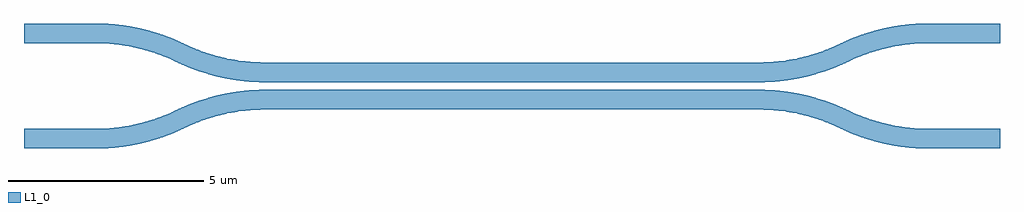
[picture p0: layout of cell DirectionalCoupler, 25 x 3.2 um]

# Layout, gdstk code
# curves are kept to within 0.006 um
import gdstk
lib = gdstk.Library(unit=1e-6, precision=1e-09)
def R(c, l, rs):  # rectangles x0, y0, x1, y1
    for r in rs: c.add(gdstk.rectangle(r[:2], r[2:], *l))
def P(c, l, *ps):  # polygons
    for p in ps: c.add(gdstk.Polygon(p, *l))
L1_0 = (1, 0)

directionalcoupler = lib.new_cell('DirectionalCoupler')
R(directionalcoupler, L1_0, [(-12.5,-1.6,-11.5,-1.1), (11.5,-1.6,12.5,-1.1), (-5.5,-0.6,5.5,-0.1), (-5.5,0.1,5.5,0.6), (-12.5,1.1,-11.5,1.6), (11.5,1.1,12.5,1.6)])
P(directionalcoupler, L1_0, [(10.612,-1.6),(10.276,-1.585),(9.926,-1.546),(9.628,-1.494),(9.285,-1.412),(9.028,-1.334),(8.775,-1.243),(8.114,-0.951),(7.887,-0.865),(7.553,-0.762),(7.212,-0.684),(6.867,-0.631),(6.549,-0.605),(5.5,-0.6),(5.5,-0.1),(6.556,-0.105),(6.857,-0.127),(7.19,-0.172),(7.585,-0.254),(7.972,-0.366),(8.303,-0.488),(8.732,-0.683),(9.028,-0.804),(9.33,-0.905),(9.684,-0.995),(10.133,-1.069),(10.451,-1.095),(11.5,-1.1),(11.5,-1.6)],
  [(-6.388,0.1),(-6.724,0.115),(-7.074,0.154),(-7.372,0.206),(-7.715,0.288),(-7.972,0.366),(-8.225,0.457),(-8.886,0.749),(-9.113,0.835),(-9.447,0.938),(-9.788,1.016),(-10.133,1.069),(-10.451,1.095),(-11.5,1.1),(-11.5,1.6),(-10.444,1.595),(-10.143,1.573),(-9.81,1.528),(-9.415,1.446),(-9.028,1.334),(-8.697,1.212),(-8.268,1.017),(-7.972,0.896),(-7.67,0.795),(-7.316,0.705),(-6.867,0.631),(-6.549,0.605),(-5.5,0.6),(-5.5,0.1)],
  [(-11.5,-1.6),(-11.5,-1.1),(-10.451,-1.095),(-10.133,-1.069),(-9.684,-0.995),(-9.33,-0.905),(-9.028,-0.804),(-8.732,-0.683),(-8.303,-0.488),(-7.972,-0.366),(-7.585,-0.254),(-7.19,-0.172),(-6.857,-0.127),(-6.556,-0.105),(-5.5,-0.1),(-5.5,-0.6),(-6.549,-0.605),(-6.867,-0.631),(-7.316,-0.705),(-7.67,-0.795),(-7.972,-0.896),(-8.268,-1.017),(-8.697,-1.212),(-9.028,-1.334),(-9.415,-1.446),(-9.81,-1.528),(-10.143,-1.573),(-10.444,-1.595)],
  [(5.5,0.1),(5.5,0.6),(6.549,0.605),(6.867,0.631),(7.316,0.705),(7.67,0.795),(7.972,0.896),(8.268,1.017),(8.697,1.212),(9.028,1.334),(9.415,1.446),(9.81,1.528),(10.143,1.573),(10.444,1.595),(11.5,1.6),(11.5,1.1),(10.451,1.095),(10.133,1.069),(9.684,0.995),(9.33,0.905),(9.028,0.804),(8.732,0.683),(8.303,0.488),(7.972,0.366),(7.585,0.254),(7.19,0.172),(6.857,0.127),(6.556,0.105)])

lib.write_gds('DirectionalCoupler.gds')
